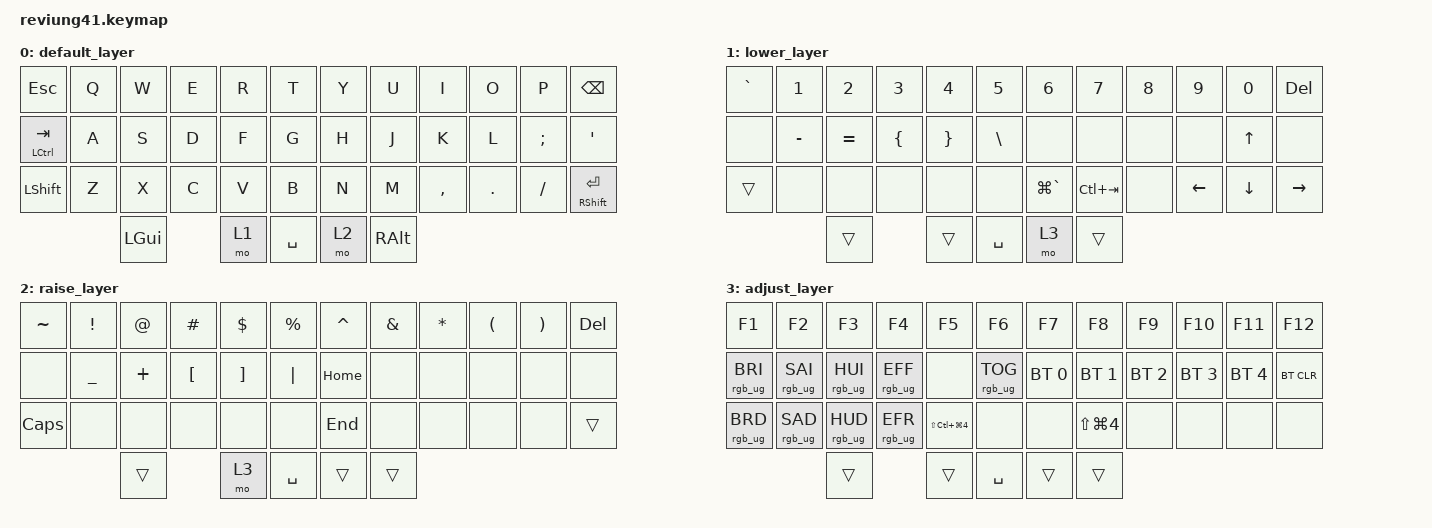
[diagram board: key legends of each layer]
/*
 * Copyright (c) 2020 The ZMK Contributors
 *
 * SPDX-License-Identifier: MIT
 */

#include <behaviors.dtsi>
#include <dt-bindings/zmk/keys.h>
#include <dt-bindings/zmk/bt.h>
#include <dt-bindings/zmk/rgb.h>

#define SS_CLIPB LS(LC(LG(N4)))
#define SS_FILE LS(LG(N4))
#define CMD_GRV LG(GRAVE)
#define CHG_TAB LC(TAB)

/ {
        keymap {
                compatible = "zmk,keymap";

                default_layer {
// -------------------------------------------------------------------------------------
// |  ESC      |  Q  |  W  |  E  |  R  |  T  |   |  Y  |  U   |  I  |  O  |  P  |   BKSP    |
// | CTRL(TAB) |  A  |  S  |  D  |  F  |  G  |   |  H  |  J   |  K  |  L  |  ;  |    '      |
// | SHFT      |  Z  |  X  |  C  |  V  |  B  |   |  N  |  M   |  ,  |  .  |  /  | SHFT(RET) |
//                         | ALT | LWR | SPC | RSE  | ALT |
                        bindings = <
   &kp ESC       &kp Q &kp W &kp E &kp R &kp T   &kp Y &kp U  &kp I     &kp O   &kp P    &kp BSPC
   &mt LCTRL TAB &kp A &kp S &kp D &kp F &kp G   &kp H &kp J  &kp K     &kp L   &kp SEMI &kp SQT
   &kp LSHFT     &kp Z &kp X &kp C &kp V &kp B   &kp N &kp M  &kp COMMA &kp DOT &kp FSLH &mt RSHFT RET
                        &kp LGUI  &mo 1 &kp SPACE &mo 2  &kp RALT
                        >;
                };

                lower_layer {
// ----------------------------------------------------------------------------------
// |    |  !  |  @  |  #  |  $  |  %  |   |  ^  |  &  |  *  |  (  |  )  |    DEL    |
// |    |  _  |  +  |  {  |  }  | "|" |   | LFT | DWN |  UP | RGT |  `  |     ~     |
// |    | ESC | GUI | ALT | CAPS|  "  |   | HOME| END | PGUP| PGDN| PRSC| SHFT(RET) |
//                       |     |     | RET | ADJ |     |
                        bindings = <
   &kp GRAVE &kp N1    &kp N2    &kp N3   &kp N4    &kp N5         &kp N6  &kp N7  &kp N8  &kp N9   &kp N0   &kp DEL
   &none     &kp MINUS &kp EQUAL &kp LBRC &kp RBRC  &kp BSLH       &none   &none   &none   &none    &kp UP   &none
   &trans    &none     &none     &none    &none     &none          &kp CMD_GRV   &kp CHG_TAB   &none   &kp LEFT &kp DOWN &kp RIGHT
                                 &trans      &trans    &kp SPACE        &mo 3    &trans
                        >;
                };

                raise_layer {
// -----------------------------------------------------------------------------------------
// |    |  1  |  2  |  3  |  4  |  5  |   |  6  |  7  |  8  |  9  |  0  | DEL |
// |    |  -  |  =  |  [  |  ]  |  \  |   | F1  | F2  | F3  | F4  | F5  | F6  |
// |    | ESC | GUI | ALT | CAPS|  "  |   | F7  | F8  | F9  | F10 | F11 | F12 |
//                       |     | ADJ | SPC |    |    |
                        bindings = <
   &kp TILDE  &kp EXCL &kp AT     &kp HASH  &kp DLLR  &kp PRCNT     &kp CARET &kp AMPS  &kp STAR  &kp LPAR  &kp RPAR  &kp DEL
   &none     &kp UNDER &kp PLUS   &kp LBKT  &kp RBKT  &kp PIPE      &kp HOME  &none  &none  &none  &none     &none
   &kp CAPS  &none    &none       &none     &none     &none         &kp END   &none  &none  &none  &none  &trans
                                &trans      &mo 3       &kp SPACE        &trans      &trans
                        >;
                };

                adjust_layer {
// -----------------------------------------------------------------------------------------
// | RGB BRI+ | RGB SAT+ | RGB HUE+ | RGB ANI+ |    | RGB TOG |   |  BT1  | BT2 | BT3 | BT4 | BT5 | BT CLR |
// | RGB BRI- | RGB SAT- | RGB HUE- | RGB ANI+ |    |         |   |       |     |     |     |     |        |
// |          |          |          |          |    |         |   | RESET |     |     |     |     |        |
//                                              |     |     |     |     |     |
                        bindings = <
   &kp F1          &kp F2          &kp F3          &kp F4          &kp F5        &kp F6            &kp F7       &kp F8       &kp F9       &kp F10      &kp F11      &kp F12 
   &rgb_ug RGB_BRI &rgb_ug RGB_SAI &rgb_ug RGB_HUI &rgb_ug RGB_EFF &none         &rgb_ug RGB_TOG   &bt BT_SEL 0 &bt BT_SEL 1 &bt BT_SEL 2 &bt BT_SEL 3 &bt BT_SEL 4 &bt BT_CLR
   &rgb_ug RGB_BRD &rgb_ug RGB_SAD &rgb_ug RGB_HUD &rgb_ug RGB_EFR &kp SS_CLIPB  &none             &none        &kp SS_FILE  &none        &none        &none        &none
                                                             &trans      &trans       &kp SPACE    &trans      &trans
                        >;
                };
        };
};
